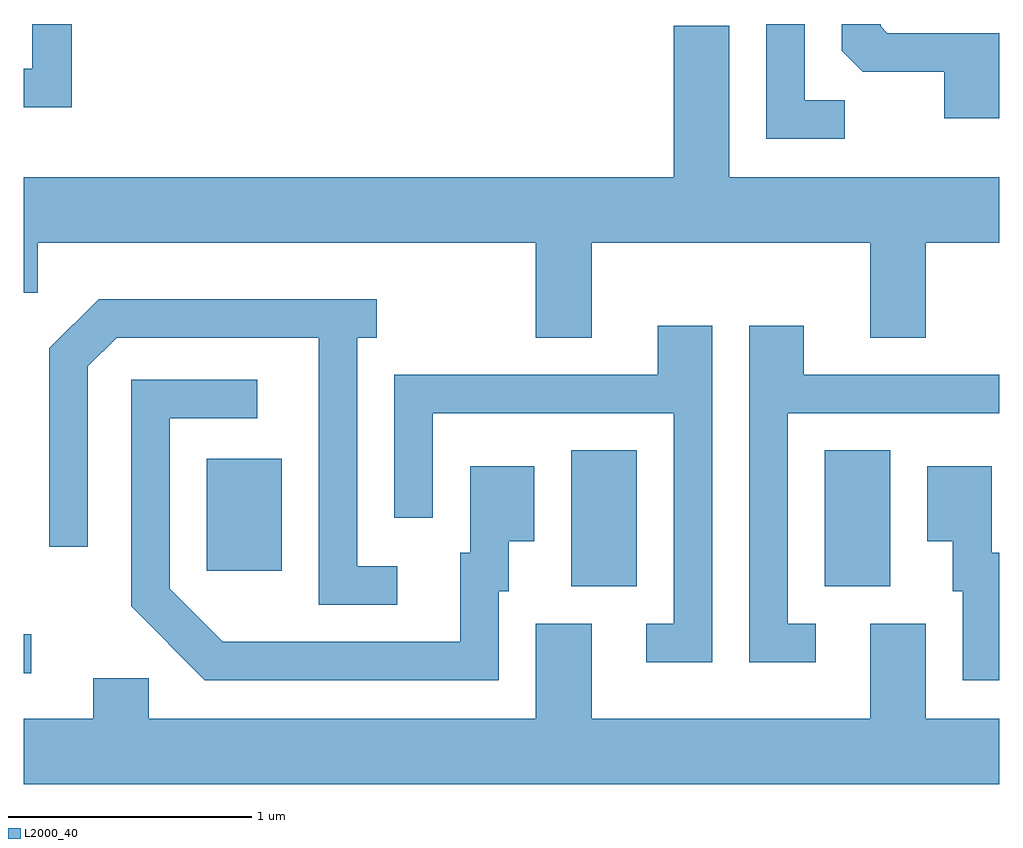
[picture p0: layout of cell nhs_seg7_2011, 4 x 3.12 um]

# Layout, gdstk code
import gdstk
lib = gdstk.Library(unit=1e-6, precision=1e-09)
def R(c, l, rs):  # rectangles x0, y0, x1, y1
    for r in rs: c.add(gdstk.rectangle(r[:2], r[2:], *l))
def P(c, l, *ps):  # polygons
    for p in ps: c.add(gdstk.Polygon(p, *l))
L2000_40 = (2000, 40)

nhs_seg7_2011 = lib.new_cell('nhs_seg7_2011')
R(nhs_seg7_2011, L2000_40, [(245.611,1783.591,245.643,1783.749), (247.856,1783.946,248.124,1784.504), (248.896,1783.946,249.164,1784.504), (246.361,1784.011,246.669,1784.469)])
P(nhs_seg7_2011, L2000_40, [(245.809,1786.252),(245.646,1786.252),(245.646,1786.069),(245.611,1786.069),(245.611,1785.911),(245.809,1785.911)],
  [(248.978,1785.939),(248.814,1785.939),(248.814,1786.252),(248.656,1786.252),(248.656,1785.781),(248.978,1785.781)],
  [(249.611,1786.214),(249.152,1786.214),(249.124,1786.242),(249.124,1786.252),(248.966,1786.252),(248.966,1786.142),(249.052,1786.056),(249.386,1786.056),(249.386,1785.866),(249.611,1785.866)],
  [(247.939,1785.356),(249.081,1785.356),(249.081,1784.966),(249.309,1784.966),(249.309,1785.356),(249.611,1785.356),(249.611,1785.624),(248.504,1785.624),(248.504,1786.244),(248.276,1786.244),(248.276,1785.624),(245.611,1785.624),(245.611,1785.151),(245.669,1785.151),(245.669,1785.356),(247.711,1785.356),(247.711,1784.966),(247.939,1784.966)],
  [(247.143,1784.029),(246.979,1784.029),(246.979,1784.966),(247.058,1784.966),(247.058,1785.124),(245.919,1785.124),(245.716,1784.922),(245.716,1784.108),(245.874,1784.108),(245.874,1784.849),(245.992,1784.966),(246.821,1784.966),(246.821,1783.871),(247.143,1783.871)],
  [(248.858,1783.794),(248.744,1783.794),(248.744,1784.656),(249.611,1784.656),(249.611,1784.814),(248.809,1784.814),(248.809,1785.014),(248.586,1785.014),(248.586,1783.636),(248.858,1783.636)],
  [(248.434,1785.014),(248.211,1785.014),(248.211,1784.814),(247.131,1784.814),(247.131,1784.228),(247.289,1784.228),(247.289,1784.656),(248.276,1784.656),(248.276,1783.794),(248.163,1783.794),(248.163,1783.636),(248.434,1783.636)],
  [(247.559,1783.926),(247.599,1783.926),(247.599,1784.131),(247.704,1784.131),(247.704,1784.439),(247.441,1784.439),(247.441,1784.084),(247.401,1784.084),(247.401,1783.719),(246.427,1783.719),(246.209,1783.937),(246.209,1784.636),(246.568,1784.636),(246.568,1784.794),(246.051,1784.794),(246.051,1783.864),(246.354,1783.561),(247.559,1783.561)],
  [(249.611,1784.084),(249.579,1784.084),(249.579,1784.439),(249.316,1784.439),(249.316,1784.131),(249.421,1784.131),(249.421,1783.926),(249.461,1783.926),(249.461,1783.561),(249.611,1783.561)],
  [(249.611,1783.404),(249.309,1783.404),(249.309,1783.794),(249.081,1783.794),(249.081,1783.404),(247.939,1783.404),(247.939,1783.794),(247.711,1783.794),(247.711,1783.404),(246.124,1783.404),(246.124,1783.569),(245.896,1783.569),(245.896,1783.404),(245.611,1783.404),(245.611,1783.136),(249.611,1783.136)])

lib.write_gds('nhs_seg7_2011.gds')
